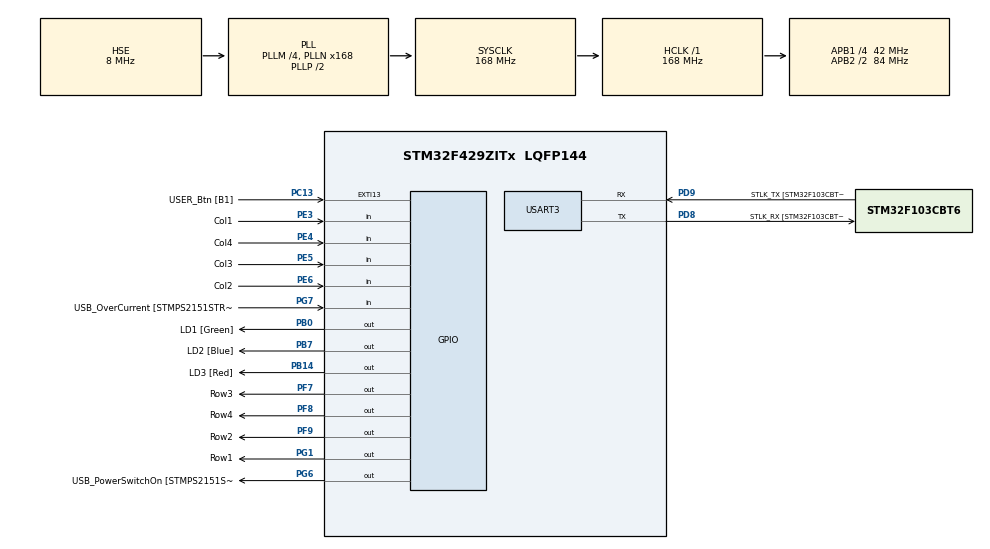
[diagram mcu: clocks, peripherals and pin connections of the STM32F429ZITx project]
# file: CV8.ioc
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Mcu.Family=STM32F4
Mcu.Name=STM32F429ZITx
Mcu.Package=LQFP144
NVIC.PriorityGroup=NVIC_PRIORITYGROUP_4
NVIC.TIM3_IRQn=true\:0\:0\:false\:false\:true\:true\:true\:true
PA1.GPIO_Label=RMII_REF_CLK [LAN8742A-CZ-TR_REFCLK0]
PA1.Signal=ETH_REF_CLK
PA10.GPIO_Label=USB_ID
PA10.Signal=USB_OTG_FS_ID
PA11.GPIO_Label=USB_DM
PA11.Signal=USB_OTG_FS_DM
PA12.GPIO_Label=USB_DP
PA12.Signal=USB_OTG_FS_DP
PA13.GPIO_Label=TMS
PA13.Mode=Serial_Wire
PA13.Signal=SYS_JTMS-SWDIO
PA14.GPIO_Label=TCK
PA14.Mode=Serial_Wire
PA14.Signal=SYS_JTCK-SWCLK
PA2.GPIO_Label=RMII_MDIO [LAN8742A-CZ-TR_MDIO]
PA2.Signal=ETH_MDIO
PA7.GPIO_Label=RMII_CRS_DV [LAN8742A-CZ-TR_CRS_DV]
PA7.Signal=ETH_CRS_DV
PA8.GPIO_Label=USB_SOF [TP1]
PA8.Signal=USB_OTG_FS_SOF
PA9.GPIO_Label=USB_VBUS
PA9.Signal=USB_OTG_FS_VBUS
PB0.GPIO_Label=LD1 [Green]
PB0.Signal=GPIO_Output
PB13.GPIO_Label=RMII_TXD1 [LAN8742A-CZ-TR_TXD1]
PB13.Signal=ETH_TXD1
PB14.GPIO_Label=LD3 [Red]
PB14.Signal=GPIO_Output
PB7.GPIO_Label=LD2 [Blue]
PB7.Signal=GPIO_Output
PC1.GPIO_Label=RMII_MDC [LAN8742A-CZ-TR_MDC]
PC1.Signal=ETH_MDC
PC13.GPIO_Label=USER_Btn [B1]
PC13.Signal=GPXTI13
PC14/OSC32_IN.Mode=LSE-External-Oscillator
PC14/OSC32_IN.Signal=RCC_OSC32_IN
PC15/OSC32_OUT.Mode=LSE-External-Oscillator
PC15/OSC32_OUT.Signal=RCC_OSC32_OUT
PC4.GPIO_Label=RMII_RXD0 [LAN8742A-CZ-TR_RXD0]
PC4.Signal=ETH_RXD0
PC5.GPIO_Label=RMII_RXD1 [LAN8742A-CZ-TR_RXD1]
PC5.Signal=ETH_RXD1
PD8.GPIO_Label=STLK_RX [STM32F103CBT6_PA3]
PD8.Mode=Asynchronous
PD8.Signal=USART3_TX
PD9.GPIO_Label=STLK_TX [STM32F103CBT6_PA2]
PD9.Mode=Asynchronous
PD9.Signal=USART3_RX
PE3.GPIO_Label=Col1
PE3.GPIO_PuPd=GPIO_PULLUP
PE3.Signal=GPIO_Input
PE4.GPIO_Label=Col4
PE4.GPIO_PuPd=GPIO_PULLUP
PE4.Signal=GPIO_Input
PE5.GPIO_Label=Col3
PE5.GPIO_PuPd=GPIO_PULLUP
PE5.Signal=GPIO_Input
PE6.GPIO_Label=Col2
PE6.GPIO_PuPd=GPIO_PULLUP
PE6.Signal=GPIO_Input
PF7.GPIO_Label=Row3
PF7.GPIO_ModeDefaultOutputPP=GPIO_MODE_OUTPUT_OD
PF7.GPIO_PuPd=GPIO_NOPULL
PF7.Signal=GPIO_Output
PF8.GPIO_Label=Row4
PF8.GPIO_ModeDefaultOutputPP=GPIO_MODE_OUTPUT_OD
PF8.GPIO_PuPd=GPIO_NOPULL
PF8.Signal=GPIO_Output
PF9.GPIO_Label=Row2
PF9.GPIO_ModeDefaultOutputPP=GPIO_MODE_OUTPUT_OD
PF9.GPIO_PuPd=GPIO_NOPULL
PF9.Signal=GPIO_Output
PG1.GPIO_Label=Row1
PG1.GPIO_ModeDefaultOutputPP=GPIO_MODE_OUTPUT_OD
PG1.GPIO_PuPd=GPIO_NOPULL
PG1.Signal=GPIO_Output
PG11.GPIO_Label=RMII_TX_EN [LAN8742A-CZ-TR_TXEN]
PG11.Signal=ETH_TX_EN
PG13.GPIO_Label=RMII_TXD0 [LAN8742A-CZ-TR_TXD0]
PG13.Signal=ETH_TXD0
PG6.GPIO_Label=USB_PowerSwitchOn [STMPS2151STR_EN]
PG6.Signal=GPIO_Output
PG7.GPIO_Label=USB_OverCurrent [STMPS2151STR_FAULT]
PG7.Signal=GPIO_Input
PH0/OSC_IN.GPIO_Label=MCO [STM32F103CBT6_PA8]
PH0/OSC_IN.Mode=HSE-External-Clock-Source
PH0/OSC_IN.Signal=RCC_OSC_IN
PH1/OSC_OUT.Mode=HSE-External-Clock-Source
PH1/OSC_OUT.Signal=RCC_OSC_OUT
ProjectManager.HeapSize=0x200
ProjectManager.StackSize=0x400
ProjectManager.TargetToolchain=STM32CubeIDE
RCC.48MHZClocksFreq_Value=48000000
RCC.AHBFreq_Value=168000000
RCC.APB1CLKDivider=RCC_HCLK_DIV4
RCC.APB1Freq_Value=42000000
RCC.APB1TimFreq_Value=84000000
RCC.APB2CLKDivider=RCC_HCLK_DIV2
RCC.APB2Freq_Value=84000000
RCC.APB2TimCLKDivider=2
RCC.APB2TimFreq_Value=168000000
RCC.CortexFreq_Value=168000000
RCC.HCLKFreq_Value=168000000
RCC.HSE_VALUE=8000000
RCC.HSI_VALUE=16000000
RCC.PLLM=4
RCC.PLLMUL=RCC_PLL_MUL9
RCC.PLLN=168
RCC.PLLQ=7
RCC.PLLSourceVirtual=RCC_PLLSOURCE_HSE
RCC.PRESCALERUSB=RCC_USBCLKSOURCE_PLL_DIV1_5
RCC.SYSCLKFreq_VALUE=168000000
RCC.SYSCLKSource=RCC_SYSCLKSOURCE_PLLCLK
RCC.SYSCLKSourceVirtual=RCC_SYSCLKSOURCE_PLLCLK
RCC.USBFreq_Value=48000000
RCC.VCOOutputFreq_Value=336000000
TIM3.AutoReloadPreload=TIM_AUTORELOAD_PRELOAD_ENABLE
TIM3.Period=99
TIM3.Prescaler=8399
USART3.VirtualMode=VM_ASYNC
VP_TIM3_VS_ClockSourceINT.Mode=Internal
board=NUCLEO-F429ZI

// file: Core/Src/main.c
/* USER CODE BEGIN Header */
/**
  ******************************************************************************
  * @file           : main.c
  * @brief          : Main program body
  ******************************************************************************
  * @attention
  *
  * Copyright (c) 2024 STMicroelectronics.
  * All rights reserved.
  *
  * This software is licensed under terms that can be found in the LICENSE file
  * in the root directory of this software component.
  * If no LICENSE file comes with this software, it is provided AS-IS.
  *
  ******************************************************************************
  */
/* USER CODE END Header */
#include "main.h"
#include <stdio.h>
#include <string.h>

/* USER CODE BEGIN PM */
#define BUTTON_DELAY 1000
#define PASSWORD_TIMEOUT 10000
/* USER CODE END PM */

TIM_HandleTypeDef htim3;

UART_HandleTypeDef huart3;

/* USER CODE BEGIN PV */
char key;

const char password[128] = "7932#";
uint16_t automata_state = 0;
uint16_t automata_last_state = strlen(password);
/* USER CODE END PV */

void SystemClock_Config(void);
static void MX_GPIO_Init(void);
static void MX_USART3_UART_Init(void);
static void MX_TIM3_Init(void);

/* USER CODE BEGIN 0 */

int __io_putchar(int ch)
{
	ITM_SendChar(ch);
	return 0;
}

/* USER CODE END 0 */

int main(void)
{

  /* MCU Configuration--------------------------------------------------------*/

  /* Reset of all peripherals, Initializes the Flash interface and the Systick. */
  HAL_Init();

  /* Configure the system clock */
  SystemClock_Config();

  /* Initialize all configured peripherals */
  MX_GPIO_Init();
  MX_USART3_UART_Init();
  MX_TIM3_Init();
  /* USER CODE BEGIN 2 */
  HAL_TIM_Base_Start_IT(&htim3);

  /* USER CODE END 2 */

  /* Infinite loop */
  /* USER CODE BEGIN WHILE */
  uint32_t tick = HAL_GetTick();
  while (1)
  {
    /* USER CODE END WHILE */

	   if (tick < HAL_GetTick() - PASSWORD_TIMEOUT && automata_state != 0) {
		   automata_state = 0;
		   printf("Password timeout!");
	   }

	  if (key != 0) {
	   printf("pressed '%s'\n", &key);
	   if(password[automata_state] == key) {
		   automata_state++;
		   printf("Correct char! %s\n", &key);
		   if (automata_last_state == automata_state) {
			   automata_state = 0;
			   HAL_GPIO_WritePin(LD1_GPIO_Port, LD1_Pin, 1);
			   printf("Correct Password\n");
			   HAL_Delay(PASSWORD_TIMEOUT);
			   HAL_GPIO_WritePin(LD1_GPIO_Port, LD1_Pin, 0);
		   }
	   }
	   else {
		   automata_state = 0;
		   printf("Password incorrect! %s\n", &key);
	   }

	   HAL_Delay(BUTTON_DELAY);
	   tick = HAL_GetTick();
	   key = 0;
	  }
  }
}

void SystemClock_Config(void)
{
  RCC_OscInitTypeDef RCC_OscInitStruct = {0};
  RCC_ClkInitTypeDef RCC_ClkInitStruct = {0};

  /** Configure the main internal regulator output voltage
  */
  __HAL_RCC_PWR_CLK_ENABLE();
  __HAL_PWR_VOLTAGESCALING_CONFIG(PWR_REGULATOR_VOLTAGE_SCALE1);

  /** Initializes the RCC Oscillators according to the specified parameters
  * in the RCC_OscInitTypeDef structure.
  */
  RCC_OscInitStruct.OscillatorType = RCC_OSCILLATORTYPE_HSE;
  RCC_OscInitStruct.HSEState = RCC_HSE_BYPASS;
  RCC_OscInitStruct.PLL.PLLState = RCC_PLL_ON;
  RCC_OscInitStruct.PLL.PLLSource = RCC_PLLSOURCE_HSE;
  RCC_OscInitStruct.PLL.PLLM = 4;
  RCC_OscInitStruct.PLL.PLLN = 168;
  RCC_OscInitStruct.PLL.PLLP = RCC_PLLP_DIV2;
  RCC_OscInitStruct.PLL.PLLQ = 7;
  if (HAL_RCC_OscConfig(&RCC_OscInitStruct) != HAL_OK)
  {
    Error_Handler();
  }

  /** Initializes the CPU, AHB and APB buses clocks
  */
  RCC_ClkInitStruct.ClockType = RCC_CLOCKTYPE_HCLK|RCC_CLOCKTYPE_SYSCLK
                              |RCC_CLOCKTYPE_PCLK1|RCC_CLOCKTYPE_PCLK2;
  RCC_ClkInitStruct.SYSCLKSource = RCC_SYSCLKSOURCE_PLLCLK;
  RCC_ClkInitStruct.AHBCLKDivider = RCC_SYSCLK_DIV1;
  RCC_ClkInitStruct.APB1CLKDivider = RCC_HCLK_DIV4;
  RCC_ClkInitStruct.APB2CLKDivider = RCC_HCLK_DIV2;

  if (HAL_RCC_ClockConfig(&RCC_ClkInitStruct, FLASH_LATENCY_5) != HAL_OK)
  {
    Error_Handler();
  }
}

static void MX_TIM3_Init(void)
{

  TIM_ClockConfigTypeDef sClockSourceConfig = {0};
  TIM_MasterConfigTypeDef sMasterConfig = {0};

  htim3.Instance = TIM3;
  htim3.Init.Prescaler = 8399;
  htim3.Init.CounterMode = TIM_COUNTERMODE_UP;
  htim3.Init.Period = 99;
  htim3.Init.ClockDivision = TIM_CLOCKDIVISION_DIV1;
  htim3.Init.AutoReloadPreload = TIM_AUTORELOAD_PRELOAD_ENABLE;
  if (HAL_TIM_Base_Init(&htim3) != HAL_OK)
  {
    Error_Handler();
  }
  sClockSourceConfig.ClockSource = TIM_CLOCKSOURCE_INTERNAL;
  if (HAL_TIM_ConfigClockSource(&htim3, &sClockSourceConfig) != HAL_OK)
  {
    Error_Handler();
  }
  sMasterConfig.MasterOutputTrigger = TIM_TRGO_RESET;
  sMasterConfig.MasterSlaveMode = TIM_MASTERSLAVEMODE_DISABLE;
  if (HAL_TIMEx_MasterConfigSynchronization(&htim3, &sMasterConfig) != HAL_OK)
  {
    Error_Handler();
  }

}

static void MX_USART3_UART_Init(void)
{

  huart3.Instance = USART3;
  huart3.Init.BaudRate = 115200;
  huart3.Init.WordLength = UART_WORDLENGTH_8B;
  huart3.Init.StopBits = UART_STOPBITS_1;
  huart3.Init.Parity = UART_PARITY_NONE;
  huart3.Init.Mode = UART_MODE_TX_RX;
  huart3.Init.HwFlowCtl = UART_HWCONTROL_NONE;
  huart3.Init.OverSampling = UART_OVERSAMPLING_16;
  if (HAL_UART_Init(&huart3) != HAL_OK)
  {
    Error_Handler();
  }

}

static void MX_GPIO_Init(void)
{
  GPIO_InitTypeDef GPIO_InitStruct = {0};

  /* GPIO Ports Clock Enable */
  __HAL_RCC_GPIOE_CLK_ENABLE();
  __HAL_RCC_GPIOC_CLK_ENABLE();
  __HAL_RCC_GPIOF_CLK_ENABLE();
  __HAL_RCC_GPIOH_CLK_ENABLE();
  __HAL_RCC_GPIOA_CLK_ENABLE();
  __HAL_RCC_GPIOB_CLK_ENABLE();
  __HAL_RCC_GPIOG_CLK_ENABLE();
  __HAL_RCC_GPIOD_CLK_ENABLE();

  /*Configure GPIO pin Output Level */
  HAL_GPIO_WritePin(GPIOF, Row3_Pin|Row4_Pin|Row2_Pin, GPIO_PIN_RESET);

  /*Configure GPIO pin Output Level */
  HAL_GPIO_WritePin(GPIOB, LD1_Pin|LD3_Pin|LD2_Pin, GPIO_PIN_RESET);

  /*Configure GPIO pin Output Level */
  HAL_GPIO_WritePin(GPIOG, Row1_Pin|USB_PowerSwitchOn_Pin, GPIO_PIN_RESET);

  /*Configure GPIO pins : Col1_Pin Col4_Pin Col3_Pin Col2_Pin */
  GPIO_InitStruct.Pin = Col1_Pin|Col4_Pin|Col3_Pin|Col2_Pin;
  GPIO_InitStruct.Mode = GPIO_MODE_INPUT;
  GPIO_InitStruct.Pull = GPIO_PULLUP;
  HAL_GPIO_Init(GPIOE, &GPIO_InitStruct);

  /*Configure GPIO pin : USER_Btn_Pin */
  GPIO_InitStruct.Pin = USER_Btn_Pin;
  GPIO_InitStruct.Mode = GPIO_MODE_IT_RISING;
  GPIO_InitStruct.Pull = GPIO_NOPULL;
  HAL_GPIO_Init(USER_Btn_GPIO_Port, &GPIO_InitStruct);

  /*Configure GPIO pins : Row3_Pin Row4_Pin Row2_Pin */
  GPIO_InitStruct.Pin = Row3_Pin|Row4_Pin|Row2_Pin;
  GPIO_InitStruct.Mode = GPIO_MODE_OUTPUT_OD;
  GPIO_InitStruct.Pull = GPIO_NOPULL;
  GPIO_InitStruct.Speed = GPIO_SPEED_FREQ_LOW;
  HAL_GPIO_Init(GPIOF, &GPIO_InitStruct);

  /*Configure GPIO pins : RMII_MDC_Pin RMII_RXD0_Pin RMII_RXD1_Pin */
  GPIO_InitStruct.Pin = RMII_MDC_Pin|RMII_RXD0_Pin|RMII_RXD1_Pin;
  GPIO_InitStruct.Mode = GPIO_MODE_AF_PP;
  GPIO_InitStruct.Pull = GPIO_NOPULL;
  GPIO_InitStruct.Speed = GPIO_SPEED_FREQ_VERY_HIGH;
  GPIO_InitStruct.Alternate = GPIO_AF11_ETH;
  HAL_GPIO_Init(GPIOC, &GPIO_InitStruct);

  /*Configure GPIO pins : RMII_REF_CLK_Pin RMII_MDIO_Pin RMII_CRS_DV_Pin */
  GPIO_InitStruct.Pin = RMII_REF_CLK_Pin|RMII_MDIO_Pin|RMII_CRS_DV_Pin;
  GPIO_InitStruct.Mode = GPIO_MODE_AF_PP;
  GPIO_InitStruct.Pull = GPIO_NOPULL;
  GPIO_InitStruct.Speed = GPIO_SPEED_FREQ_VERY_HIGH;
  GPIO_InitStruct.Alternate = GPIO_AF11_ETH;
  HAL_GPIO_Init(GPIOA, &GPIO_InitStruct);

  /*Configure GPIO pins : LD1_Pin LD3_Pin LD2_Pin */
  GPIO_InitStruct.Pin = LD1_Pin|LD3_Pin|LD2_Pin;
  GPIO_InitStruct.Mode = GPIO_MODE_OUTPUT_PP;
  GPIO_InitStruct.Pull = GPIO_NOPULL;
  GPIO_InitStruct.Speed = GPIO_SPEED_FREQ_LOW;
  HAL_GPIO_Init(GPIOB, &GPIO_InitStruct);

  /*Configure GPIO pin : Row1_Pin */
  GPIO_InitStruct.Pin = Row1_Pin;
  GPIO_InitStruct.Mode = GPIO_MODE_OUTPUT_OD;
  GPIO_InitStruct.Pull = GPIO_NOPULL;
  GPIO_InitStruct.Speed = GPIO_SPEED_FREQ_LOW;
  HAL_GPIO_Init(Row1_GPIO_Port, &GPIO_InitStruct);

  /*Configure GPIO pin : RMII_TXD1_Pin */
  GPIO_InitStruct.Pin = RMII_TXD1_Pin;
  GPIO_InitStruct.Mode = GPIO_MODE_AF_PP;
  GPIO_InitStruct.Pull = GPIO_NOPULL;
  GPIO_InitStruct.Speed = GPIO_SPEED_FREQ_VERY_HIGH;
  GPIO_InitStruct.Alternate = GPIO_AF11_ETH;
  HAL_GPIO_Init(RMII_TXD1_GPIO_Port, &GPIO_InitStruct);

  /*Configure GPIO pin : USB_PowerSwitchOn_Pin */
  GPIO_InitStruct.Pin = USB_PowerSwitchOn_Pin;
  GPIO_InitStruct.Mode = GPIO_MODE_OUTPUT_PP;
  GPIO_InitStruct.Pull = GPIO_NOPULL;
  GPIO_InitStruct.Speed = GPIO_SPEED_FREQ_LOW;
  HAL_GPIO_Init(USB_PowerSwitchOn_GPIO_Port, &GPIO_InitStruct);

  /*Configure GPIO pin : USB_OverCurrent_Pin */
  GPIO_InitStruct.Pin = USB_OverCurrent_Pin;
  GPIO_InitStruct.Mode = GPIO_MODE_INPUT;
  GPIO_InitStruct.Pull = GPIO_NOPULL;
  HAL_GPIO_Init(USB_OverCurrent_GPIO_Port, &GPIO_InitStruct);

  /*Configure GPIO pins : USB_SOF_Pin USB_ID_Pin USB_DM_Pin USB_DP_Pin */
  GPIO_InitStruct.Pin = USB_SOF_Pin|USB_ID_Pin|USB_DM_Pin|USB_DP_Pin;
  GPIO_InitStruct.Mode = GPIO_MODE_AF_PP;
  GPIO_InitStruct.Pull = GPIO_NOPULL;
  GPIO_InitStruct.Speed = GPIO_SPEED_FREQ_VERY_HIGH;
  GPIO_InitStruct.Alternate = GPIO_AF10_OTG_FS;
  HAL_GPIO_Init(GPIOA, &GPIO_InitStruct);

  /*Configure GPIO pin : USB_VBUS_Pin */
  GPIO_InitStruct.Pin = USB_VBUS_Pin;
  GPIO_InitStruct.Mode = GPIO_MODE_INPUT;
  GPIO_InitStruct.Pull = GPIO_NOPULL;
  HAL_GPIO_Init(USB_VBUS_GPIO_Port, &GPIO_InitStruct);

  /*Configure GPIO pins : RMII_TX_EN_Pin RMII_TXD0_Pin */
  GPIO_InitStruct.Pin = RMII_TX_EN_Pin|RMII_TXD0_Pin;
  GPIO_InitStruct.Mode = GPIO_MODE_AF_PP;
  GPIO_InitStruct.Pull = GPIO_NOPULL;
  GPIO_InitStruct.Speed = GPIO_SPEED_FREQ_VERY_HIGH;
  GPIO_InitStruct.Alternate = GPIO_AF11_ETH;
  HAL_GPIO_Init(GPIOG, &GPIO_InitStruct);

}

/* USER CODE BEGIN 4 */

void HAL_TIM_PeriodElapsedCallback(TIM_HandleTypeDef *htim)
{
  static uint8_t row = 0;
  static const char keyboard[4][4] = {
    { '1', '2', '3', 'A' },
    { '4', '5', '6', 'B' },
    { '7', '8', '9', 'C' },
    { '*', '0', '#', 'D' },
  };
  if (key == 0) {
    if (HAL_GPIO_ReadPin(Col1_GPIO_Port, Col1_Pin) == GPIO_PIN_RESET) {
      key = keyboard[row][0];
    }
    if (HAL_GPIO_ReadPin(Col2_GPIO_Port, Col2_Pin) == GPIO_PIN_RESET) {
      key = keyboard[row][1];
    }
    if (HAL_GPIO_ReadPin(Col3_GPIO_Port, Col3_Pin) == GPIO_PIN_RESET) {
      key = keyboard[row][2];
    }
    if (HAL_GPIO_ReadPin(Col4_GPIO_Port, Col4_Pin) == GPIO_PIN_RESET) {
      key = keyboard[row][3];
    }
  }
  HAL_GPIO_WritePin(Row1_GPIO_Port, Row1_Pin, GPIO_PIN_SET);
  HAL_GPIO_WritePin(Row2_GPIO_Port, Row2_Pin, GPIO_PIN_SET);
  HAL_GPIO_WritePin(Row3_GPIO_Port, Row3_Pin, GPIO_PIN_SET);
  HAL_GPIO_WritePin(Row4_GPIO_Port, Row4_Pin, GPIO_PIN_SET);
  switch (row) {
  case 0:
    row = 1;
    HAL_GPIO_WritePin(Row2_GPIO_Port, Row2_Pin, GPIO_PIN_RESET);
    break;
  case 1:
    row = 2;
    HAL_GPIO_WritePin(Row3_GPIO_Port, Row3_Pin, GPIO_PIN_RESET);
    break;
  case 2:
    row = 3;
    HAL_GPIO_WritePin(Row4_GPIO_Port, Row4_Pin, GPIO_PIN_RESET);
    break;
  case 3:
    row = 0;
    HAL_GPIO_WritePin(Row1_GPIO_Port, Row1_Pin, GPIO_PIN_RESET);
    break;

   }
  }

/* USER CODE END 4 */

void Error_Handler(void)
{
  __disable_irq();
  while (1)
  {
  }
}
